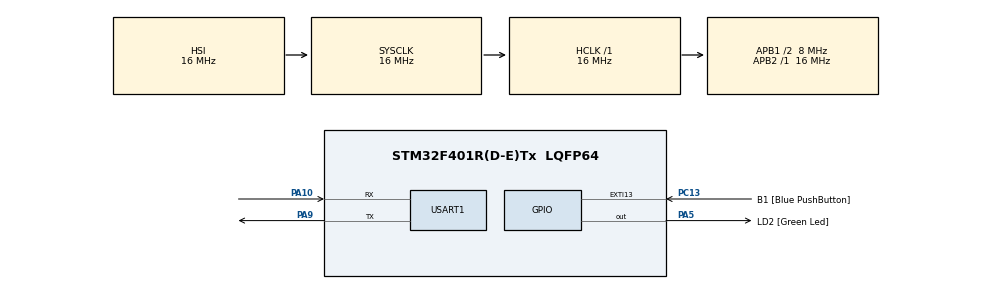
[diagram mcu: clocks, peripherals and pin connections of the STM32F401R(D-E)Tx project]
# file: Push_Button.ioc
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Mcu.Family=STM32F4
Mcu.Name=STM32F401R(D-E)Tx
Mcu.Package=LQFP64
NVIC.EXTI15_10_IRQn=true\:0\:0\:false\:false\:true\:true\:true
NVIC.PriorityGroup=NVIC_PRIORITYGROUP_0
NVIC.TIM1_UP_TIM10_IRQn=true\:0\:0\:false\:false\:true\:true\:true
PA10.Mode=Asynchronous
PA10.Signal=USART1_RX
PA5.GPIO_Label=LD2 [Green Led]
PA5.GPIO_Mode=GPIO_MODE_OUTPUT_PP
PA5.GPIO_PuPd=GPIO_PULLDOWN
PA5.GPIO_Speed=GPIO_SPEED_FREQ_LOW
PA5.Signal=GPIO_Output
PA9.Mode=Asynchronous
PA9.Signal=USART1_TX
PC13-ANTI_TAMP.GPIO_Label=B1 [Blue PushButton]
PC13-ANTI_TAMP.GPIO_ModeDefaultEXTI=GPIO_MODE_IT_RISING_FALLING
PC13-ANTI_TAMP.GPIO_PuPd=GPIO_PULLUP
PC13-ANTI_TAMP.Signal=GPXTI13
PC14-OSC32_IN.Mode=LSE-External-Oscillator
PC14-OSC32_IN.Signal=RCC_OSC32_IN
PC15-OSC32_OUT.Mode=LSE-External-Oscillator
PC15-OSC32_OUT.Signal=RCC_OSC32_OUT
PH0\ -\ OSC_IN.Mode=HSE-External-Clock-Source
PH0\ -\ OSC_IN.Signal=RCC_OSC_IN
PH1\ -\ OSC_OUT.Mode=HSE-External-Clock-Source
PH1\ -\ OSC_OUT.Signal=RCC_OSC_OUT
ProjectManager.HeapSize=0x200
ProjectManager.StackSize=0x400
ProjectManager.TargetToolchain=MDK-ARM V5.27
RCC.48MHZClocksFreq_Value=48000000
RCC.AHBFreq_Value=16000000
RCC.APB1CLKDivider=RCC_HCLK_DIV2
RCC.APB1Freq_Value=8000000
RCC.APB1TimFreq_Value=16000000
RCC.APB2Freq_Value=16000000
RCC.APB2TimFreq_Value=16000000
RCC.CortexFreq_Value=16000000
RCC.HCLKFreq_Value=16000000
RCC.HSE_VALUE=8000000
RCC.HSI_VALUE=16000000
RCC.PLLN=336
RCC.PLLP=RCC_PLLP_DIV4
RCC.PLLQ=7
RCC.SYSCLKFreq_VALUE=16000000
RCC.VCOOutputFreq_Value=336000000
TIM1.Period=50
TIM1.Prescaler=16000
USART1.VirtualMode=VM_ASYNC
VP_TIM1_VS_ClockSourceINT.Mode=Internal
board=NUCLEO-F401RE

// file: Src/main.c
/* USER CODE BEGIN Header */
/**
  ******************************************************************************
  * @file           : main.c
  * @brief          : Main program body
  ******************************************************************************
  * @attention
  *
  * <h2><center>&copy; Copyright (c) 2020 STMicroelectronics.
  * All rights reserved.</center></h2>
  *
  * This software component is licensed by ST under BSD 3-Clause license,
  * the "License"; You may not use this file except in compliance with the
  * License. You may obtain a copy of the License at:
  *                        opensource.org/licenses/BSD-3-Clause
  *
  ******************************************************************************
  */
/* USER CODE END Header */

#include "main.h"

/* USER CODE BEGIN Includes */
#include <stdio.h>
/* USER CODE END Includes */

TIM_HandleTypeDef htim1;

UART_HandleTypeDef huart1;

/* USER CODE BEGIN PV */
volatile uint32_t TouchCount 	= 0;
volatile int debounceHandle = 0;
volatile uint32_t StartTime 	= 0;
volatile uint32_t EndTime 		= 0;
volatile int ButtonPressedFlag 	= 0;
volatile int ButtonRealeasedFlag = 0;
volatile uint32_t touchType = 0;

char *print = "Toys\r\n";
/* USER CODE END PV */

void SystemClock_Config(void);
void MX_GPIO_Init(void);
static void MX_TIM1_Init(void);
static void MX_USART1_UART_Init(void);
/* USER CODE BEGIN PFP */
void ButtonPressedCallback(void);
void ButtonRealeasedCallback(void);
void TouchInterface(void);
void SingleTouch(void);
void LongTouch(void);
void VeryLongTouch(void);
/* USER CODE END PFP */

int main(void)
{

  /* MCU Configuration--------------------------------------------------------*/

  /* Reset of all peripherals, Initializes the Flash interface and the Systick. */
  HAL_Init();

  /* Configure the system clock */
  SystemClock_Config();

  /* Initialize all configured peripherals */
  MX_GPIO_Init();
  MX_TIM1_Init();
  MX_USART1_UART_Init();
  /* USER CODE BEGIN 2 */

  HAL_UART_Transmit(&huart1,(uint8_t *) "Toys\r\r\n",8, HAL_MAX_DELAY);

  /* USER CODE END 2 */

  /* Infinite loop */
  while (1)
  {

  }
}

void SystemClock_Config(void)
{
  RCC_OscInitTypeDef RCC_OscInitStruct = {0};
  RCC_ClkInitTypeDef RCC_ClkInitStruct = {0};

  /** Configure the main internal regulator output voltage
  */
  __HAL_RCC_PWR_CLK_ENABLE();
  __HAL_PWR_VOLTAGESCALING_CONFIG(PWR_REGULATOR_VOLTAGE_SCALE2);
  /** Initializes the CPU, AHB and APB busses clocks
  */
  RCC_OscInitStruct.OscillatorType = RCC_OSCILLATORTYPE_HSI;
  RCC_OscInitStruct.HSIState = RCC_HSI_ON;
  RCC_OscInitStruct.HSICalibrationValue = RCC_HSICALIBRATION_DEFAULT;
  RCC_OscInitStruct.PLL.PLLState = RCC_PLL_NONE;
  if (HAL_RCC_OscConfig(&RCC_OscInitStruct) != HAL_OK)
  {
    Error_Handler();
  }
  /** Initializes the CPU, AHB and APB busses clocks
  */
  RCC_ClkInitStruct.ClockType = RCC_CLOCKTYPE_HCLK|RCC_CLOCKTYPE_SYSCLK
                              |RCC_CLOCKTYPE_PCLK1|RCC_CLOCKTYPE_PCLK2;
  RCC_ClkInitStruct.SYSCLKSource = RCC_SYSCLKSOURCE_HSI;
  RCC_ClkInitStruct.AHBCLKDivider = RCC_SYSCLK_DIV1;
  RCC_ClkInitStruct.APB1CLKDivider = RCC_HCLK_DIV2;
  RCC_ClkInitStruct.APB2CLKDivider = RCC_HCLK_DIV1;

  if (HAL_RCC_ClockConfig(&RCC_ClkInitStruct, FLASH_LATENCY_0) != HAL_OK)
  {
    Error_Handler();
  }
}

static void MX_TIM1_Init(void)
{

  TIM_ClockConfigTypeDef sClockSourceConfig = {0};
  TIM_MasterConfigTypeDef sMasterConfig = {0};

  htim1.Instance = TIM1;
  htim1.Init.Prescaler = 16000;
  htim1.Init.CounterMode = TIM_COUNTERMODE_UP;
  htim1.Init.Period = 50;
  htim1.Init.ClockDivision = TIM_CLOCKDIVISION_DIV1;
  htim1.Init.RepetitionCounter = 0;
  htim1.Init.AutoReloadPreload = TIM_AUTORELOAD_PRELOAD_DISABLE;
  if (HAL_TIM_Base_Init(&htim1) != HAL_OK)
  {
    Error_Handler();
  }
  sClockSourceConfig.ClockSource = TIM_CLOCKSOURCE_INTERNAL;
  if (HAL_TIM_ConfigClockSource(&htim1, &sClockSourceConfig) != HAL_OK)
  {
    Error_Handler();
  }
  sMasterConfig.MasterOutputTrigger = TIM_TRGO_RESET;
  sMasterConfig.MasterSlaveMode = TIM_MASTERSLAVEMODE_DISABLE;
  if (HAL_TIMEx_MasterConfigSynchronization(&htim1, &sMasterConfig) != HAL_OK)
  {
    Error_Handler();
  }

}

static void MX_USART1_UART_Init(void)
{

  huart1.Instance = USART1;
  huart1.Init.BaudRate = 115200;
  huart1.Init.WordLength = UART_WORDLENGTH_8B;
  huart1.Init.StopBits = UART_STOPBITS_1;
  huart1.Init.Parity = UART_PARITY_NONE;
  huart1.Init.Mode = UART_MODE_TX_RX;
  huart1.Init.HwFlowCtl = UART_HWCONTROL_NONE;
  huart1.Init.OverSampling = UART_OVERSAMPLING_16;
  if (HAL_UART_Init(&huart1) != HAL_OK)
  {
    Error_Handler();
  }

}

void MX_GPIO_Init(void)
{
  GPIO_InitTypeDef GPIO_InitStruct = {0};

  /* GPIO Ports Clock Enable */
  __HAL_RCC_GPIOC_CLK_ENABLE();
  __HAL_RCC_GPIOH_CLK_ENABLE();
  __HAL_RCC_GPIOA_CLK_ENABLE();

  /*Configure GPIO pin Output Level */
  HAL_GPIO_WritePin(LD2_GPIO_Port, LD2_Pin, GPIO_PIN_RESET);

  /*Configure GPIO pin : B1_Pin */
  GPIO_InitStruct.Pin = B1_Pin;
  GPIO_InitStruct.Mode = GPIO_MODE_IT_RISING_FALLING;
  GPIO_InitStruct.Pull = GPIO_PULLUP;
  HAL_GPIO_Init(B1_GPIO_Port, &GPIO_InitStruct);

  /*Configure GPIO pin : LD2_Pin */
  GPIO_InitStruct.Pin = LD2_Pin;
  GPIO_InitStruct.Mode = GPIO_MODE_OUTPUT_PP;
  GPIO_InitStruct.Pull = GPIO_PULLDOWN;
  GPIO_InitStruct.Speed = GPIO_SPEED_FREQ_LOW;
  HAL_GPIO_Init(LD2_GPIO_Port, &GPIO_InitStruct);

  /* EXTI interrupt init*/
  HAL_NVIC_SetPriority(EXTI15_10_IRQn, 0, 0);
  HAL_NVIC_EnableIRQ(EXTI15_10_IRQn);

}

/* USER CODE BEGIN 4 */

void HAL_SYSTICK_Callback(void)
{
	TouchCount++;
	TouchInterface();
}

void HAL_TIM_PeriodElapsedCallback(TIM_HandleTypeDef *htim)
{
		if(HAL_GPIO_ReadPin(B1_GPIO_Port,B1_Pin) == GPIO_PIN_RESET)
		{
			debounceHandle = 1;
			HAL_TIM_Base_Stop_IT(&htim1);
		}
}

uint32_t GetTouchTime(void)
{
	return TouchCount;
}

void HAL_GPIO_EXTI_Callback(uint16_t GPIO_Pin)
{
	if(GPIO_Pin == B1_Pin)
	{
		if(HAL_GPIO_ReadPin(B1_GPIO_Port,B1_Pin))
		{
				ButtonRealeasedCallback();
		}
		else
		{
				HAL_TIM_Base_Start_IT(&htim1);
				if (debounceHandle == 1)
				{
					ButtonPressedCallback();
					debounceHandle = 0;
				}
		}
	}
	__HAL_GPIO_EXTI_CLEAR_IT(GPIO_Pin);
}

void ButtonPressedCallback(void)
{
	StartTime = GetTouchTime();
	if(ButtonRealeasedFlag == 0)
		ButtonPressedFlag = 1;
}

void ButtonRealeasedCallback(void)
{
	EndTime = GetTouchTime();
	if(ButtonPressedFlag)
		ButtonRealeasedFlag = 1;
}

void TouchInterface(void)
{
		if(ButtonPressedFlag && ButtonRealeasedFlag)
		{
			touchType = (EndTime - StartTime);

			ButtonPressedFlag = 0;
			ButtonRealeasedFlag = 0;

			if(touchType >= 70 && touchType <= 500)
			{
				SingleTouch();
			}
			else if(touchType > 500 && touchType <= 1500)
			{
				LongTouch();
			}
			else if(touchType > 1500 && touchType <= 2500)
			{
				VeryLongTouch();
			}
			else
			{
				ButtonPressedFlag = 0;
				ButtonRealeasedFlag = 0;
				debounceHandle = 0;
				touchType = 0;
				HAL_UART_Transmit(&huart1,(uint8_t *) "ET\r\r\n",6, HAL_MAX_DELAY);
			}
		}
}

void SingleTouch(void)
{
	HAL_UART_Transmit(&huart1,(uint8_t *) "ST\r\r\n",6, HAL_MAX_DELAY);
	ButtonPressedFlag = 0;
	ButtonRealeasedFlag = 0;
}

void LongTouch(void)
{
	HAL_UART_Transmit(&huart1,(uint8_t *) "LT\r\r\n", 6, HAL_MAX_DELAY);
	ButtonPressedFlag = 0;
	ButtonRealeasedFlag = 0;
}

void VeryLongTouch(void)
{
	HAL_UART_Transmit(&huart1,(uint8_t *) "VLT\r\r\n",7, HAL_MAX_DELAY);
	ButtonPressedFlag = 0;
	ButtonRealeasedFlag = 0;
}

/* USER CODE END 4 */

void Error_Handler(void)
{
}

/************************ (C) COPYRIGHT STMicroelectronics *****END OF FILE****/
